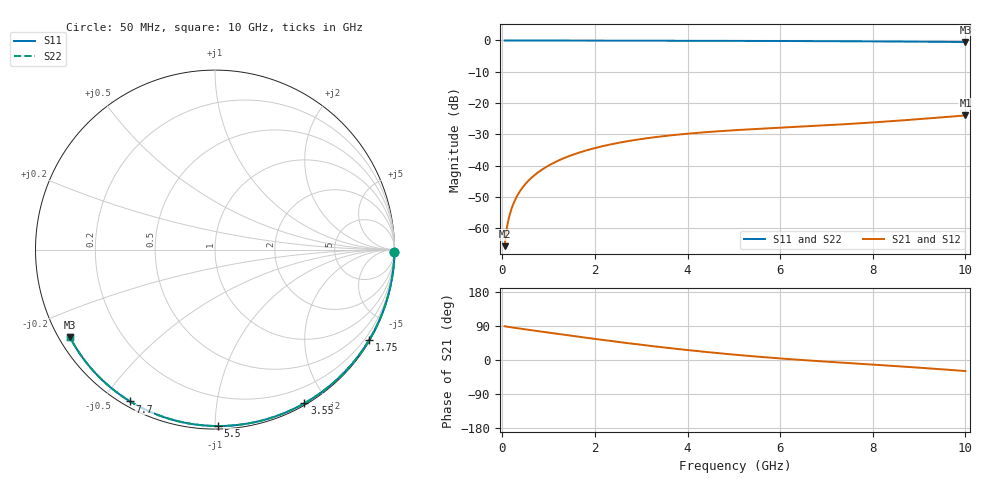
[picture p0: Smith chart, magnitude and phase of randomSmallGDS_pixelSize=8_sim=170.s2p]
! freq	dB(S11)	phase(S11)	dB(S12)	phase(S12)
!  dB(S21)	phase(S21)	dB(S22)	phase(S22)
!S-par simulation data
#  GHz  S  DB  R 50
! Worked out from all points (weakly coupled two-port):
!   200 points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, 50 MHz to 10 GHz, reference 50 ohm
!   highest |S21| = -23.95 dB at 10 GHz (marker M1); lowest = -65.7 dB at 50 MHz (marker M2)
!   lowest |S11| = -0.5 dB at 10 GHz (marker M3), VSWR 34.85, Z = 1.55 - j13.9 ohm
!   |S11| at or under -10 dB: nowhere
!   |S22| runs from -0.5 to 0.0 dB; largest |S21 - S12| = 0
!   S11 on the Smith chart (normalised r, x): 50 MHz: open; 1.75 GHz: 0.03, -3.69; 3.55 GHz: 0.02, -1.74; 5.5 GHz: 0.02, -1.02; 7.7 GHz: 0.02, -0.59; 10 GHz: 0.03, -0.28
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0.05  -0.00 -0.9  -65.72 89.0  -65.72 89.0  -0.00 -0.9
0.1  -0.00 -1.8  -59.70 88.0  -59.70 88.0  -0.00 -1.8
0.15  -0.00 -2.7  -56.19 87.1  -56.19 87.1  -0.00 -2.7
0.2  -0.00 -3.5  -53.71 86.1  -53.71 86.1  -0.00 -3.5
0.25  -0.00 -4.4  -51.78 85.2  -51.78 85.2  -0.00 -4.4
0.35  -0.00 -6.2  -48.89 83.4  -48.89 83.4  -0.00 -6.2
0.5  -0.01 -8.8  -45.84 80.8  -45.84 80.8  -0.01 -8.8
0.7  -0.01 -12.3  -42.97 77.4  -42.97 77.4  -0.01 -12.3
1  -0.02 -17.5  -39.96 72.3  -39.96 72.3  -0.02 -17.5
1.35  -0.03 -23.5  -37.48 66.4  -37.48 66.4  -0.03 -23.5
1.75  -0.04 -30.3  -35.40 59.7  -35.40 59.7  -0.04 -30.3
2.5  -0.06 -42.9  -32.73 47.7  -32.73 47.7  -0.06 -42.9
3.4  -0.08 -57.5  -30.71 34.4  -30.71 34.4  -0.08 -57.5
3.55  -0.08 -59.8  -30.45 32.3  -30.45 32.3  -0.08 -59.8
4.3  -0.10 -71.4  -29.41 22.4  -29.41 22.4  -0.10 -71.4
5.05  -0.13 -82.6  -28.64 13.7  -28.64 13.7  -0.13 -82.6
5.5  -0.15 -89.1  -28.26 8.9  -28.26 8.9  -0.15 -89.1
6.7  -0.21 -105.8  -27.33 -2.0  -27.33 -2.0  -0.21 -105.8
7.7  -0.27 -119.2  -26.48 -9.8  -26.48 -9.8  -0.27 -119.2
8.35  -0.33 -127.6  -25.83 -14.9  -25.83 -14.9  -0.33 -127.6
9.2  -0.41 -138.6  -24.90 -21.9  -24.90 -21.9  -0.41 -138.6
10  -0.50 -148.9  -23.95 -29.2  -23.95 -29.2  -0.50 -148.9
